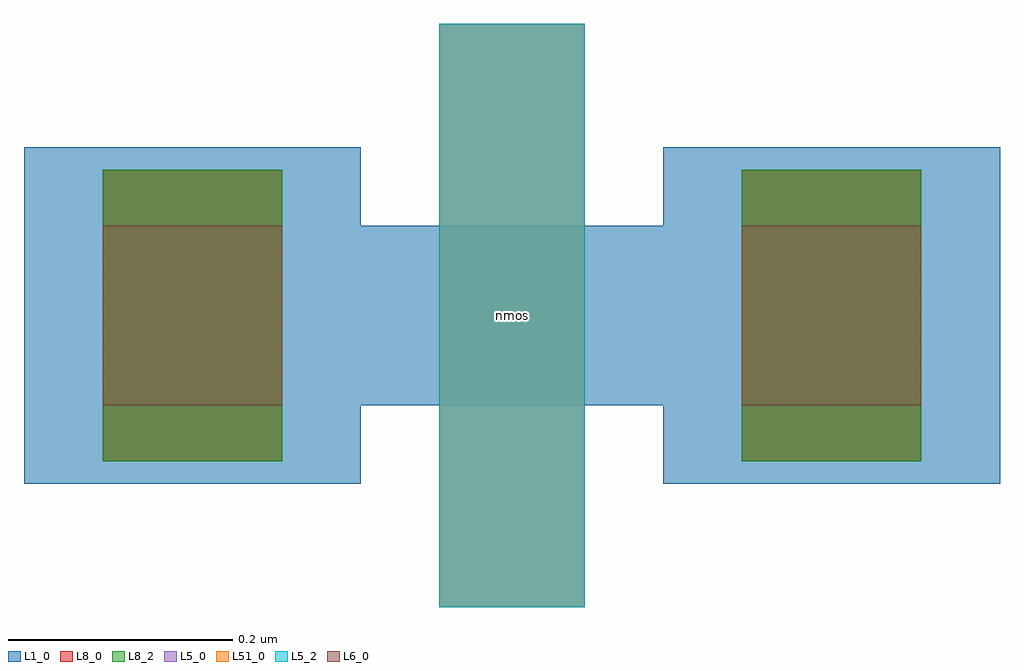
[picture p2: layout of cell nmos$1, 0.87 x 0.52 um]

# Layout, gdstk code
import gdstk
lib = gdstk.Library(unit=1e-6, precision=5e-09)
def R(c, l, rs):  # rectangles x0, y0, x1, y1
    for r in rs: c.add(gdstk.rectangle(r[:2], r[2:], *l))
L1_0 = (1, 0)
L5_0 = (5, 0)
L5_2 = (5, 2)
L6_0 = (6, 0)
L8_0 = (8, 0)
L8_2 = (8, 2)
L51_0 = (51, 0)

nmos_1 = lib.new_cell('nmos$1')
R(nmos_1, L1_0, [(0,0,0.3,0.3), (0.57,0,0.87,0.3), (0,0.07,0.87,0.23)])
R(nmos_1, L5_0, [(0.37,-0.11,0.5,0.41)])
R(nmos_1, L5_2, [(0.37,-0.11,0.5,0.41)])
R(nmos_1, L6_0, [(0.07,0.07,0.23,0.23), (0.64,0.07,0.8,0.23)])
R(nmos_1, L8_0, [(0.07,0.02,0.23,0.28), (0.64,0.02,0.8,0.28)])
R(nmos_1, L8_2, [(0.07,0.02,0.23,0.28), (0.64,0.02,0.8,0.28)])
R(nmos_1, L51_0, [(0.37,-0.11,0.5,0.41)])
nmos_1.add(gdstk.Label('nmos', (0.435,0.15), layer=63, texttype=0))
nmos_1.add(gdstk.Label('nmos', (0.435,0.15), layer=51, texttype=0))

lib.write_gds('nmos_1.gds')
